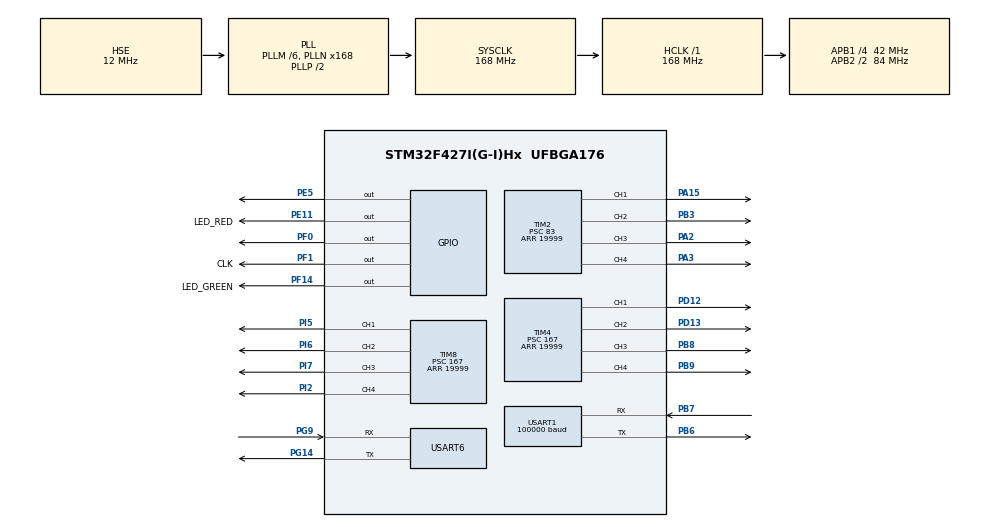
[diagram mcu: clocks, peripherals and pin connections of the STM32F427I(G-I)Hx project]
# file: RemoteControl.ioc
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Dma.Request0=USART1_RX
Dma.USART1_RX.0.Direction=DMA_PERIPH_TO_MEMORY
Dma.USART1_RX.0.FIFOMode=DMA_FIFOMODE_DISABLE
Dma.USART1_RX.0.Instance=DMA2_Stream2
Dma.USART1_RX.0.MemDataAlignment=DMA_MDATAALIGN_BYTE
Dma.USART1_RX.0.MemInc=DMA_MINC_ENABLE
Dma.USART1_RX.0.Mode=DMA_CIRCULAR
Dma.USART1_RX.0.PeriphDataAlignment=DMA_PDATAALIGN_BYTE
Dma.USART1_RX.0.PeriphInc=DMA_PINC_DISABLE
Dma.USART1_RX.0.Priority=DMA_PRIORITY_LOW
Mcu.Family=STM32F4
Mcu.Name=STM32F427I(G-I)Hx
Mcu.Package=UFBGA176
NVIC.DMA2_Stream2_IRQn=true\:0\:0\:false\:false\:true\:false\:true
NVIC.PriorityGroup=NVIC_PRIORITYGROUP_4
NVIC.USART1_IRQn=true\:0\:0\:false\:false\:true\:true\:true
NVIC.USART6_IRQn=true\:0\:0\:false\:false\:true\:true\:true
PA13.Mode=Serial_Wire
PA13.Signal=SYS_JTMS-SWDIO
PA14.Mode=Serial_Wire
PA14.Signal=SYS_JTCK-SWCLK
PA15.Signal=S_TIM2_CH1_ETR
PA2.Signal=S_TIM2_CH3
PA3.Signal=S_TIM2_CH4
PB3.Signal=S_TIM2_CH2
PB6.Mode=Asynchronous
PB6.Signal=USART1_TX
PB7.Mode=Asynchronous
PB7.Signal=USART1_RX
PB8.Signal=S_TIM4_CH3
PB9.Signal=S_TIM4_CH4
PD12.Signal=S_TIM4_CH1
PD13.Signal=S_TIM4_CH2
PE11.GPIO_Label=LED_RED
PE11.Signal=GPIO_Output
PE5.Signal=GPIO_Output
PF0.Signal=GPIO_Output
PF1.GPIO_Label=CLK
PF1.Signal=GPIO_Output
PF14.GPIO_Label=LED_GREEN
PF14.Signal=GPIO_Output
PG14.Mode=Asynchronous
PG14.Signal=USART6_TX
PG9.Mode=Asynchronous
PG9.Signal=USART6_RX
PH0/OSC_IN.Mode=HSE-External-Oscillator
PH0/OSC_IN.Signal=RCC_OSC_IN
PH1/OSC_OUT.Mode=HSE-External-Oscillator
PH1/OSC_OUT.Signal=RCC_OSC_OUT
PI2.Signal=S_TIM8_CH4
PI5.Signal=S_TIM8_CH1
PI6.Signal=S_TIM8_CH2
PI7.Signal=S_TIM8_CH3
ProjectManager.HeapSize=0x200
ProjectManager.StackSize=0x400
ProjectManager.TargetToolchain=MDK-ARM V5
RCC.48MHZClocksFreq_Value=84000000
RCC.AHBFreq_Value=168000000
RCC.APB1CLKDivider=RCC_HCLK_DIV4
RCC.APB1Freq_Value=42000000
RCC.APB1TimFreq_Value=84000000
RCC.APB2CLKDivider=RCC_HCLK_DIV2
RCC.APB2Freq_Value=84000000
RCC.APB2TimFreq_Value=168000000
RCC.CortexFreq_Value=168000000
RCC.HCLKFreq_Value=168000000
RCC.HSE_VALUE=12000000
RCC.HSI_VALUE=16000000
RCC.LSE_VALUE=32768
RCC.PLLM=6
RCC.PLLN=168
RCC.PLLSourceVirtual=RCC_PLLSOURCE_HSE
RCC.SYSCLKFreq_VALUE=168000000
RCC.SYSCLKSource=RCC_SYSCLKSOURCE_PLLCLK
RCC.VCOOutputFreq_Value=336000000
SH.S_TIM2_CH1_ETR.0=TIM2_CH1,PWM Generation1 CH1
SH.S_TIM2_CH2.0=TIM2_CH2,PWM Generation2 CH2
SH.S_TIM2_CH3.0=TIM2_CH3,PWM Generation3 CH3
SH.S_TIM2_CH4.0=TIM2_CH4,PWM Generation4 CH4
SH.S_TIM4_CH1.0=TIM4_CH1,PWM Generation1 CH1
SH.S_TIM4_CH2.0=TIM4_CH2,PWM Generation2 CH2
SH.S_TIM4_CH3.0=TIM4_CH3,PWM Generation3 CH3
SH.S_TIM4_CH4.0=TIM4_CH4,PWM Generation4 CH4
SH.S_TIM8_CH1.0=TIM8_CH1,PWM Generation1 CH1
SH.S_TIM8_CH2.0=TIM8_CH2,PWM Generation2 CH2
SH.S_TIM8_CH3.0=TIM8_CH3,PWM Generation3 CH3
SH.S_TIM8_CH4.0=TIM8_CH4,PWM Generation4 CH4
TIM2.Channel-PWM\ Generation1\ CH1=TIM_CHANNEL_1
TIM2.Channel-PWM\ Generation2\ CH2=TIM_CHANNEL_2
TIM2.Channel-PWM\ Generation3\ CH3=TIM_CHANNEL_3
TIM2.Channel-PWM\ Generation4\ CH4=TIM_CHANNEL_4
TIM2.Period=19999
TIM2.Prescaler=83
TIM2.Pulse-PWM\ Generation1\ CH1=2000
TIM2.Pulse-PWM\ Generation2\ CH2=2000
TIM2.Pulse-PWM\ Generation3\ CH3=2000
TIM2.Pulse-PWM\ Generation4\ CH4=2000
TIM4.Channel-PWM\ Generation1\ CH1=TIM_CHANNEL_1
TIM4.Channel-PWM\ Generation2\ CH2=TIM_CHANNEL_2
TIM4.Channel-PWM\ Generation3\ CH3=TIM_CHANNEL_3
TIM4.Channel-PWM\ Generation4\ CH4=TIM_CHANNEL_4
TIM4.Period=19999
TIM4.Prescaler=167
TIM4.Pulse-PWM\ Generation1\ CH1=2000
TIM4.Pulse-PWM\ Generation2\ CH2=2000
TIM4.Pulse-PWM\ Generation3\ CH3=2000
TIM4.Pulse-PWM\ Generation4\ CH4=2000
TIM8.Channel-PWM\ Generation1\ CH1=TIM_CHANNEL_1
TIM8.Channel-PWM\ Generation2\ CH2=TIM_CHANNEL_2
TIM8.Channel-PWM\ Generation3\ CH3=TIM_CHANNEL_3
TIM8.Channel-PWM\ Generation4\ CH4=TIM_CHANNEL_4
TIM8.Period=19999
TIM8.Prescaler=167
TIM8.Pulse-PWM\ Generation1\ CH1=2000
TIM8.Pulse-PWM\ Generation2\ CH2=2000
TIM8.Pulse-PWM\ Generation3\ CH3=2000
TIM8.Pulse-PWM\ Generation4\ CH4=2000
USART1.BaudRate=100000
USART1.Parity=PARITY_EVEN
USART1.VirtualMode=VM_ASYNC
USART6.VirtualMode=VM_ASYNC
VP_TIM2_VS_ClockSourceINT.Mode=Internal
VP_TIM4_VS_ClockSourceINT.Mode=Internal
VP_TIM8_VS_ClockSourceINT.Mode=Internal
board=RemoteControl

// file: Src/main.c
/* USER CODE BEGIN Header */
/**
PF1 I1 CLK
PF0 I2 EN
PE5 J1 CW

  ******************************************************************************
  * @file           : main.c
  * @brief          : Main program body
  ******************************************************************************
  * @attention
  *
  * <h2><center>&copy; Copyright (c) 2021 STMicroelectronics.
  * All rights reserved.</center></h2>
  *
  * This software component is licensed by ST under BSD 3-Clause license,
  * the "License"; You may not use this file except in compliance with the
  * License. You may obtain a copy of the License at:
  *                        opensource.org/licenses/BSD-3-Clause
  *
  ******************************************************************************
  */
/* USER CODE END Header */
#include "main.h"
#include "dma.h"
#include "tim.h"
#include "usart.h"
#include "gpio.h"

/* USER CODE BEGIN Includes */
#include "bsp_uart.h"
/* USER CODE END Includes */

/* USER CODE BEGIN PV */
/* Private variables ---------------------------------------------------------*/
extern rc_info_t rc;
char buf[200];
int16_t value;
int count;
void run_mod(int S,int speed);
void motor_init(void);
/* USER CODE END PV */

void SystemClock_Config(void);
/* USER CODE BEGIN PFP */
/* Private function prototypes -----------------------------------------------*/

/* USER CODE END PFP */

int main(void)
{

  /* MCU Configuration--------------------------------------------------------*/

  /* Reset of all peripherals, Initializes the Flash interface and the Systick. */
  HAL_Init();

  /* Configure the system clock */
  SystemClock_Config();

  /* Initialize all configured peripherals */
  MX_GPIO_Init();
  MX_DMA_Init();
  MX_USART6_UART_Init();
  MX_USART1_UART_Init();
  MX_TIM8_Init();
  MX_TIM2_Init();
  MX_TIM4_Init();
  /* USER CODE BEGIN 2 */
	led_off();
	/* open dbus uart receive it */
	dbus_uart_init();
  /* USER CODE END 2 */

  /* Infinite loop */
  while (1)
  {

    /* USER CODE BEGIN 3 */

	//sprintf(buf, "CH1: %4d  CH2: %4d  CH3: %4d  CH4: %4d  SW1: %1d  SW2: %1d \n", rc.ch1, rc.ch2, rc.ch3, rc.ch4, rc.sw1, rc.sw2);
	HAL_UART_Transmit(&huart6, (uint8_t *)buf, (COUNTOF(buf) - 1), 55);
	HAL_Delay(50);

	if (count==10)
	{
		HAL_GPIO_TogglePin(LED_GREEN_GPIO_Port, LED_GREEN_Pin);
		count=0;
	}
	//value = rc.ch1*2;
	//__HAL_TIM_SetCompare(&htim8, TIM_CHANNEL_1, value);
	if(rc.sw1==1)
	{
		 //__HAL_TIM_SetCompare(&htim2, TIM_CHANNEL_1, 500);
        __HAL_TIM_SetCompare(&htim2, TIM_CHANNEL_2, 500);
       // __HAL_TIM_SetCompare(&htim2, TIM_CHANNEL_3, 500);
        __HAL_TIM_SetCompare(&htim2, TIM_CHANNEL_4, 500);
        __HAL_TIM_SetCompare(&htim8, TIM_CHANNEL_1, 500);//motor 1   1350 zheng
        __HAL_TIM_SetCompare(&htim8, TIM_CHANNEL_2, 500);//servo 1
		    __HAL_TIM_SetCompare(&htim8, TIM_CHANNEL_3, 500);//motor 2   1350 zheng
				__HAL_TIM_SetCompare(&htim4, TIM_CHANNEL_1, 2500);
				__HAL_TIM_SetCompare(&htim4, TIM_CHANNEL_2, 2500);
				__HAL_TIM_SetCompare(&htim4, TIM_CHANNEL_4, 5000);//high-up servo1
				HAL_GPIO_WritePin(GPIOF,GPIO_PIN_0,GPIO_PIN_SET);
		}
	if(rc.sw1==2)
	{
				 //__HAL_TIM_SetCompare(&htim2, TIM_CHANNEL_1, 20000);
        __HAL_TIM_SetCompare(&htim2, TIM_CHANNEL_2, 2000);
		   // __HAL_TIM_SetCompare(&htim2, TIM_CHANNEL_3, 1500);
        //__HAL_TIM_SetCompare(&htim2, TIM_CHANNEL_4, 1350);
        //__HAL_TIM_SetCompare(&htim8, TIM_CHANNEL_1, 2000);//motor 1   1350 zheng   1500mid  2000 fan
        __HAL_TIM_SetCompare(&htim8, TIM_CHANNEL_2, 2500);//servo 1
				__HAL_TIM_SetCompare(&htim4, TIM_CHANNEL_1, 1500);
				__HAL_TIM_SetCompare(&htim4, TIM_CHANNEL_2, 1500);
				__HAL_TIM_SetCompare(&htim4, TIM_CHANNEL_4, 3000);//high-up servo1

	}
	if(rc.sw1==3)
	{
		    __HAL_TIM_SetCompare(&htim8, TIM_CHANNEL_1, 1500-rc.ch2/33.*50+0.5);//motor 1
				__HAL_TIM_SetCompare(&htim8, TIM_CHANNEL_3, 1500+rc.ch4/33.*50+0.5);//motor 2
				if(rc.sw2==1)
				{
					__HAL_TIM_SetCompare(&htim8, TIM_CHANNEL_4, 2500);//servo 2
				}
				if(rc.sw2==2)
				{
					__HAL_TIM_SetCompare(&htim8, TIM_CHANNEL_4, 1200);//servo 2
				}
	}

  }
  /* USER CODE END 3 */
}

void SystemClock_Config(void)
{
  RCC_OscInitTypeDef RCC_OscInitStruct = {0};
  RCC_ClkInitTypeDef RCC_ClkInitStruct = {0};

  /** Configure the main internal regulator output voltage
  */
  __HAL_RCC_PWR_CLK_ENABLE();
  __HAL_PWR_VOLTAGESCALING_CONFIG(PWR_REGULATOR_VOLTAGE_SCALE1);
  /** Initializes the RCC Oscillators according to the specified parameters
  * in the RCC_OscInitTypeDef structure.
  */
  RCC_OscInitStruct.OscillatorType = RCC_OSCILLATORTYPE_HSE;
  RCC_OscInitStruct.HSEState = RCC_HSE_ON;
  RCC_OscInitStruct.PLL.PLLState = RCC_PLL_ON;
  RCC_OscInitStruct.PLL.PLLSource = RCC_PLLSOURCE_HSE;
  RCC_OscInitStruct.PLL.PLLM = 6;
  RCC_OscInitStruct.PLL.PLLN = 168;
  RCC_OscInitStruct.PLL.PLLP = RCC_PLLP_DIV2;
  RCC_OscInitStruct.PLL.PLLQ = 4;
  if (HAL_RCC_OscConfig(&RCC_OscInitStruct) != HAL_OK)
  {
    Error_Handler();
  }
  /** Initializes the CPU, AHB and APB buses clocks
  */
  RCC_ClkInitStruct.ClockType = RCC_CLOCKTYPE_HCLK|RCC_CLOCKTYPE_SYSCLK
                              |RCC_CLOCKTYPE_PCLK1|RCC_CLOCKTYPE_PCLK2;
  RCC_ClkInitStruct.SYSCLKSource = RCC_SYSCLKSOURCE_PLLCLK;
  RCC_ClkInitStruct.AHBCLKDivider = RCC_SYSCLK_DIV1;
  RCC_ClkInitStruct.APB1CLKDivider = RCC_HCLK_DIV4;
  RCC_ClkInitStruct.APB2CLKDivider = RCC_HCLK_DIV2;

  if (HAL_RCC_ClockConfig(&RCC_ClkInitStruct, FLASH_LATENCY_5) != HAL_OK)
  {
    Error_Handler();
  }
}

/* USER CODE BEGIN 4 */
void run_mod(int S,int speed)
{
	while(S--)
	{
		HAL_GPIO_WritePin(GPIOF,GPIO_PIN_1,GPIO_PIN_RESET);
		HAL_Delay(speed);
		HAL_GPIO_WritePin(GPIOF,GPIO_PIN_1,GPIO_PIN_SET);
		HAL_Delay(speed);
	}
}

void motor_init(void)
{
		__HAL_TIM_SetCompare(&htim8, TIM_CHANNEL_4, 1200);
		__HAL_TIM_SetCompare(&htim8, TIM_CHANNEL_3, 2500);
		__HAL_TIM_SetCompare(&htim8, TIM_CHANNEL_2, 500);
		HAL_Delay(5000);
		__HAL_TIM_SetCompare(&htim8, TIM_CHANNEL_3, 1500);
		__HAL_TIM_SetCompare(&htim8, TIM_CHANNEL_2, 500);
}

/* USER CODE END 4 */

void Error_Handler(void)
{
  while(1)
  {
  }
}

/************************ (C) COPYRIGHT STMicroelectronics *****END OF FILE****/
